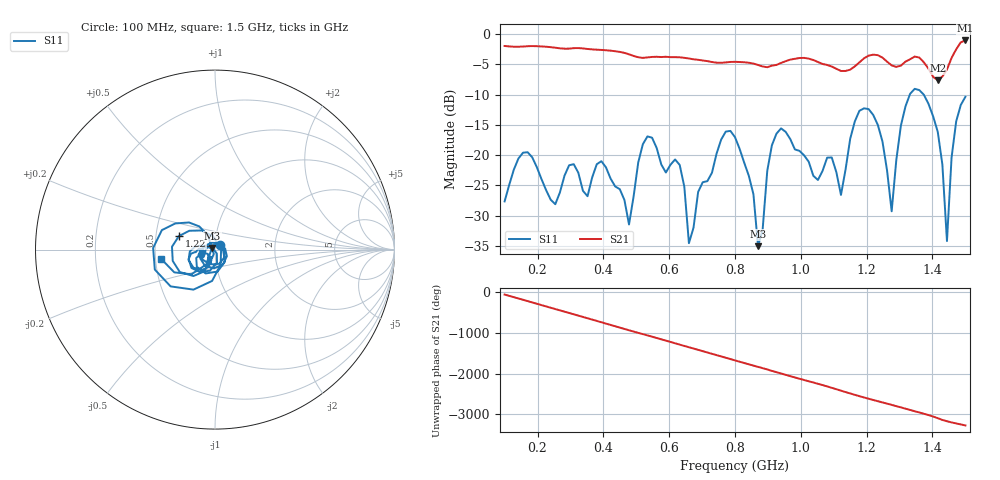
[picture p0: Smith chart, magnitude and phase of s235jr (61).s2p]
! NanoVNA-App
! Date: 2025-09-26 09:45:16
! Start: 100MHz Stop: 1,5GHz Points: 101
! S-Parameter data: F S11 S21 S12 S22
# Hz S RI R 50
!  Frequency  S11_Real  S11_Imag  S21_Real  S21_Imag  S12_Real  S12_Imag  S22_Real  S22_Imag
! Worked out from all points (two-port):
!   101 points, 100 MHz to 1.5 GHz, reference 50 ohm
!   highest |S21| = -1.04 dB at 1.5 GHz (marker M1); lowest = -7.6 dB at 1.416 GHz (marker M2)
!   |S21| within 3 dB of the highest: start of sweep to 662 MHz; 1.191 GHz to 1.251 GHz (60.28 MHz wide, 4.94 % of centre) (the widest 2 of 5)
!   lowest |S11| = -35.0 dB at 870 MHz (marker M3), VSWR 1.04, Z = 48.5 + j0.95 ohm
!   |S11| at or under -10 dB: start of sweep to 1.331 GHz; 1.374 GHz to end of sweep
!   S12 and S22 are empty: the file has one direction only
!   S11 on the Smith chart (normalised r, x): 100 MHz: 1.06, +0.06; 1.22 GHz: 0.66, +0.10; 1.5 GHz: 0.54, -0.06
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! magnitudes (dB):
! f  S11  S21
! 100 MHz  -27.6  -2.0
! 156 MHz  -19.6  -2.0
! 338 MHz  -25.9  -2.4
! 394 MHz  -21.0  -2.6
! 478 MHz  -31.5  -3.3
! 520 MHz  -18.2  -3.9
! 576 MHz  -21.5  -3.8
! 632 MHz  -21.6  -3.8
! 660 MHz  -34.6  -4.0
! 800 MHz  -17.0  -4.6
! 870 MHz  -35.0  -5.1
! 926 MHz  -16.4  -5.1
! 1.038 GHz  -23.4  -4.3
! 1.122 GHz  -26.6  -6.1
! 1.164 GHz  -14.4  -5.3
! 1.22 GHz  -13.4  -3.4
! 1.276 GHz  -29.3  -5.2
! 1.332 GHz  -9.9  -4.1
! 1.416 GHz  -16.1  -7.6
! 1.444 GHz  -34.2  -5.9
! 1.472 GHz  -14.4  -2.5
! 1.5 GHz  -10.4  -1.0
